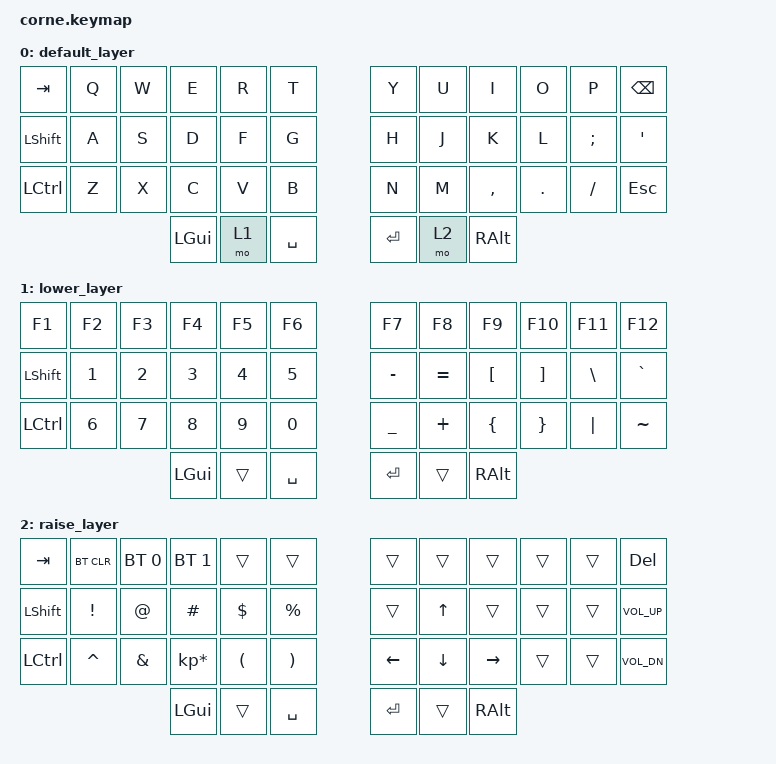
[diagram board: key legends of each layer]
/*
 * Copyright (c) 2020 The ZMK Contributors
 *
 * SPDX-License-Identifier: MIT
 */

#include <behaviors.dtsi>
#include <dt-bindings/zmk/keys.h>
#include <dt-bindings/zmk/bt.h>

/ {
        keymap {
                compatible = "zmk,keymap";

                default_layer {
// -----------------------------------------------------------------------------------------
// |  TAB |  Q  |  W  |  E  |  R  |  T  |   |  Y  |  U   |  I  |  O  |  P  | BKSP |
// | SHFT |  A  |  S  |  D  |  F  |  G  |   |  H  |  J   |  K  |  L  |  ;  |  '   |
// | LCTRL|  Z  |  X  |  C  |  V  |  B  |   |  N  |  M   |  ,  |  .  |  /  | ESC  |
//                    | GUI | LWR | SPC |   | ENT | RSE  | ALT |
                        bindings = <
   &kp TAB   &kp Q &kp W &kp E    &kp R  &kp T     &kp Y   &kp U  &kp I     &kp O   &kp P    &kp BSPC
   &kp LSHFT &kp A &kp S &kp D    &kp F  &kp G     &kp H   &kp J  &kp K     &kp L   &kp SEMI &kp SQT
   &kp LCTRL &kp Z &kp X &kp C    &kp V  &kp B     &kp N   &kp M  &kp COMMA &kp DOT &kp FSLH &kp ESC
                         &kp LGUI &mo 1  &kp SPACE &kp RET &mo 2  &kp RALT
                        >;
                };
                lower_layer {
// -----------------------------------------------------------------------------------------
// |  F1  | F2 | F3 | F4  | F5 | F6  |   | F7  | F8  |  F9 | F10 | F11 | F12  |
// | SHFT | 1  | 2  | 3   | 4  | 5   |   |  -  |  =  |  [  |  ]  |  \  |  `   | 
// | LCTRL| 6  | 7  | 8   | 9  | 0   |   |  _  |  +  |  {  |  }  | "|" |  ~   |
//                  | GUI |    | SPC |   | ENT |     | ALT |
                        bindings = <
   &kp F1     &kp F2  &kp F3  &kp F4   &kp F5  &kp F6    &kp F7    &kp F8    &kp F9    &kp F10  &kp F11  &kp F12
   &kp LSHFT  &kp N1  &kp N2  &kp N3   &kp N4  &kp N5    &kp MINUS &kp EQUAL &kp LBKT  &kp RBKT &kp BSLH &kp GRAVE
   &kp LCTRL  &kp N6  &kp N7  &kp N8   &kp N9  &kp N0    &kp UNDER &kp PLUS  &kp LBRC  &kp RBRC &kp PIPE &kp TILDE
                              &kp LGUI &trans  &kp SPACE &kp RET   &trans    &kp RALT
                        >;
                };

                raise_layer {
// -----------------------------------------------------------------------------------------
// |  TAB  | BTCLR | BT1 | BT2 |     |     |   |     |     |     |     |     |    DEL   |
// | SHFT  |   !   |  @  |  #  |  $  |  %  |   |     | UP  |     |     |     | K_VOL_UP |   
// | LCTRL |   ^   |  &  |  *  |  (  |  )  |   | LFT | DWN | RGT |     |     | K_VOL_DN |
//                       | GUI |     | SPC |   | ENT |     | ALT |
                        bindings = <
   &kp TAB    &bt BT_CLR  &bt BT_SEL 0 &bt BT_SEL 1    &trans    &trans      &trans    &trans    &trans    &trans   &trans   &kp DEL
   &kp LSHFT  &kp EXCL    &kp AT       &kp HASH        &kp DLLR  &kp PRCNT   &trans    &kp UP    &trans    &trans   &trans   &kp C_VOL_UP
   &kp LCTRL  &kp CARET   &kp AMPS     &kp KP_MULTIPLY &kp LPAR  &kp RPAR    &kp LEFT  &kp DOWN  &kp RIGHT &trans   &trans   &kp C_VOL_DN
                                        &kp LGUI       &trans    &kp SPACE   &kp RET   &trans    &kp RALT
                        >;
                };
        };
};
